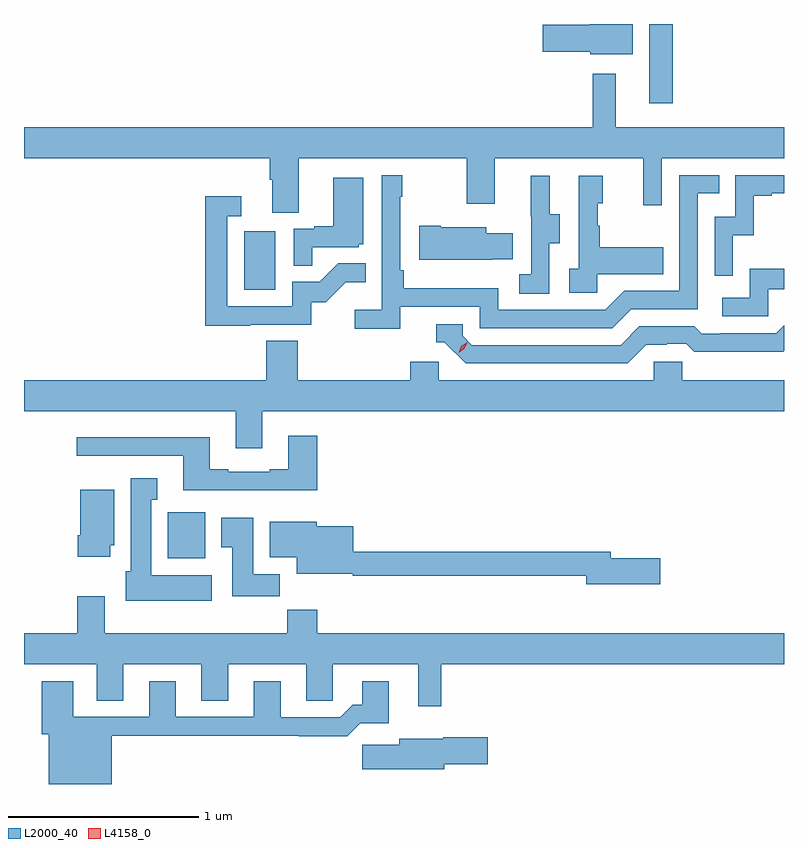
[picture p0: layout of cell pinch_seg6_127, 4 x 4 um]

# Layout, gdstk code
import gdstk
lib = gdstk.Library(unit=1e-6, precision=1e-09)
def R(c, l, rs):  # rectangles x0, y0, x1, y1
    for r in rs: c.add(gdstk.rectangle(r[:2], r[2:], *l))
def P(c, l, *ps):  # polygons
    for p in ps: c.add(gdstk.Polygon(p, *l))
L2000_40 = (2000, 40)
L4158_0 = (4158, 0)

pinch_seg6_127 = lib.new_cell('pinch_seg6_127')
R(pinch_seg6_127, L2000_40, [(993.2,934.574,993.397,934.816), (993.602,935.988,993.766,936.295), (995.735,936.969,995.857,937.387)])
P(pinch_seg6_127, L2000_40, [(995.647,937.387),(995.42,937.387),(995.42,937.382),(995.172,937.382),(995.172,937.24),(995.424,937.24),(995.424,937.229),(995.647,937.229)],
  [(993.889,936.68),(994.774,936.68),(994.774,936.441),(994.921,936.441),(994.921,936.68),(995.702,936.68),(995.702,936.432),(995.799,936.432),(995.799,936.68),(996.443,936.68),(996.443,936.844),(995.557,936.844),(995.557,937.126),(995.436,937.126),(995.436,936.844),(992.443,936.844),(992.443,936.68),(993.737,936.68),(993.737,936.568),(993.749,936.568),(993.749,936.394),(993.889,936.394)],
  [(994.424,935.898),(994.842,935.898),(994.842,935.787),(995.539,935.787),(995.638,935.886),(995.988,935.886),(995.988,936.495),(996.101,936.495),(996.101,936.591),(995.892,936.591),(995.892,935.982),(995.601,935.982),(995.502,935.883),(994.938,935.883),(994.938,935.995),(994.442,935.995),(994.442,936.091),(994.422,936.091),(994.422,936.479),(994.435,936.479),(994.435,936.592),(994.326,936.592),(994.326,935.884),(994.185,935.884),(994.185,935.782),(994.424,935.782)],
  [(996.174,936.275),(996.284,936.275),(996.284,936.483),(996.379,936.483),(996.379,936.495),(996.443,936.495),(996.443,936.591),(996.186,936.591),(996.186,936.372),(996.078,936.372),(996.078,936.063),(996.174,936.063)],
  [(995.208,936.232),(995.263,936.232),(995.263,936.387),(995.209,936.387),(995.209,936.589),(995.111,936.589),(995.111,936.375),(995.112,936.375),(995.112,936.071),(995.049,936.071),(995.049,935.968),(995.208,935.968)],
  [(995.46,936.071),(995.807,936.071),(995.807,936.211),(995.473,936.211),(995.473,936.326),(995.463,936.326),(995.463,936.444),(995.488,936.444),(995.488,936.589),(995.364,936.589),(995.364,936.098),(995.313,936.098),(995.313,935.973),(995.46,935.973)],
  [(993.959,936.213),(994.206,936.213),(994.206,936.228),(994.228,936.228),(994.228,936.577),(994.07,936.577),(994.07,936.322),(993.971,936.322),(993.971,936.309),(993.864,936.309),(993.864,936.115),(993.959,936.115)],
  [(993.635,935.805),(993.954,935.805),(993.954,935.922),(994.03,935.922),(994.137,936.029),(994.241,936.029),(994.241,936.128),(994.097,936.128),(993.999,936.03),(993.855,936.03),(993.855,935.901),(993.513,935.901),(993.513,936.375),(993.586,936.375),(993.586,936.481),(993.397,936.481),(993.397,935.8),(993.635,935.8)],
  [(994.907,936.149),(995.015,936.149),(995.015,936.286),(994.876,936.286),(994.876,936.316),(994.636,936.316),(994.636,936.324),(994.524,936.324),(994.524,936.146),(994.907,936.146)],
  [(996.36,935.991),(996.443,935.991),(996.443,936.1),(996.264,936.1),(996.264,935.946),(996.117,935.946),(996.117,935.85),(996.36,935.85)],
  [(995.719,935.7),(995.826,935.7),(995.826,935.703),(995.929,935.703),(995.971,935.661),(996.204,935.661),(996.204,935.663),(996.44,935.663),(996.443,935.666),(996.443,935.801),(996.402,935.76),(996.109,935.76),(996.109,935.757),(996.01,935.757),(995.971,935.796),(995.682,935.796),(995.583,935.697),(994.8,935.697),(994.752,935.745),(994.752,935.808),(994.613,935.808),(994.613,935.712),(994.656,935.712),(994.767,935.601),(995.62,935.601)],
  [(993.697,935.348),(996.443,935.348),(996.443,935.512),(995.907,935.512),(995.907,935.61),(995.757,935.61),(995.757,935.512),(994.626,935.512),(994.626,935.61),(994.475,935.61),(994.475,935.512),(993.884,935.512),(993.884,935.72),(993.719,935.72),(993.719,935.512),(992.443,935.512),(992.443,935.348),(993.557,935.348),(993.557,935.154),(993.697,935.154)],
  [(993.986,935.221),(993.833,935.221),(993.833,935.044),(993.737,935.044),(993.737,935.031),(993.517,935.031),(993.517,935.044),(993.421,935.044),(993.421,935.212),(992.721,935.212),(992.721,935.115),(993.281,935.115),(993.281,934.934),(993.986,934.934)],
  [(993.43,934.486),(993.112,934.486),(993.112,934.883),(993.145,934.883),(993.145,934.996),(993.005,934.996),(993.005,934.506),(992.978,934.506),(992.978,934.352),(993.43,934.352)],
  [(992.896,934.644),(992.917,934.644),(992.917,934.936),(992.738,934.936),(992.738,934.696),(992.726,934.696),(992.726,934.584),(992.896,934.584)],
  [(993.788,934.492),(993.649,934.492),(993.649,934.789),(993.482,934.789),(993.482,934.633),(993.539,934.633),(993.539,934.374),(993.788,934.374)],
  [(995.791,934.574),(995.53,934.574),(995.53,934.61),(994.177,934.61),(994.177,934.744),(993.984,934.744),(993.984,934.768),(993.737,934.768),(993.737,934.58),(993.878,934.58),(993.878,934.493),(994.173,934.493),(994.173,934.482),(995.402,934.482),(995.402,934.439),(995.791,934.439)],
  [(994.639,934.016),(996.443,934.016),(996.443,934.18),(993.986,934.18),(993.986,934.304),(993.829,934.304),(993.829,934.18),(992.869,934.18),(992.869,934.375),(992.722,934.375),(992.722,934.18),(992.443,934.18),(992.443,934.016),(992.825,934.016),(992.825,933.826),(992.965,933.826),(992.965,934.016),(993.377,934.016),(993.377,933.826),(993.517,933.826),(993.517,934.016),(993.929,934.016),(993.929,933.826),(994.068,933.826),(994.068,934.016),(994.517,934.016),(994.517,933.795),(994.639,933.795)],
  [(992.905,933.64),(993.889,933.64),(993.889,933.638),(994.145,933.638),(994.214,933.707),(994.363,933.707),(994.363,933.928),(994.223,933.928),(994.223,933.805),(994.174,933.805),(994.107,933.738),(993.793,933.738),(993.793,933.928),(993.653,933.928),(993.653,933.741),(993.241,933.741),(993.241,933.928),(993.101,933.928),(993.101,933.741),(992.701,933.741),(992.701,933.928),(992.537,933.928),(992.537,933.648),(992.573,933.648),(992.573,933.387),(992.905,933.387)],
  [(994.654,933.491),(994.885,933.491),(994.885,933.633),(994.65,933.633),(994.65,933.625),(994.418,933.625),(994.418,933.593),(994.224,933.593),(994.224,933.464),(994.654,933.464)])
P(pinch_seg6_127, L4158_0, [(994.73,935.658),(994.73,935.658),(994.745,935.691),(994.775,935.711),(994.776,935.711),(994.776,935.711),(994.76,935.678),(994.73,935.658)])

lib.write_gds('pinch_seg6_127.gds')
